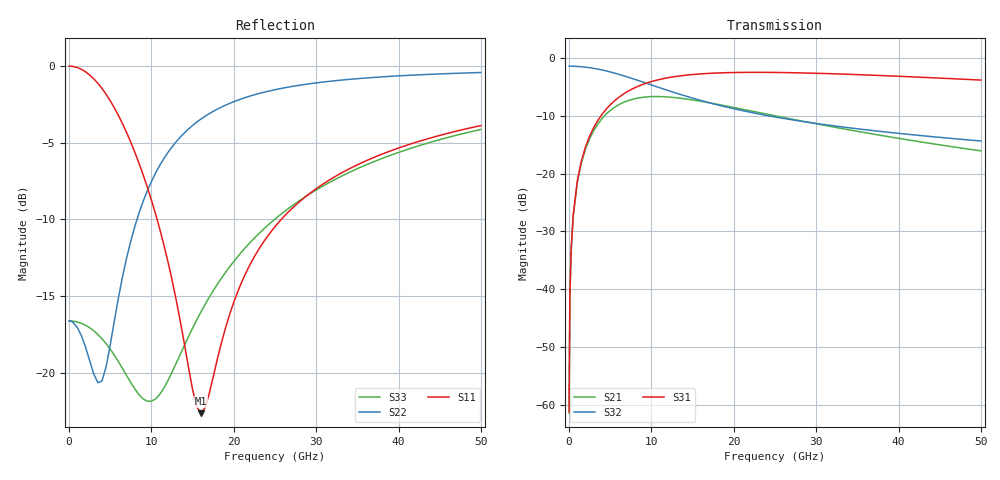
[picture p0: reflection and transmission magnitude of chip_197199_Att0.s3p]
! Example Packaged FET S-Parameter file
! AWR Design Environment (4980)
! Ports: 3, Freqs: 103
# GHz S DB R 50
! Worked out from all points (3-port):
!   103 points, 10 MHz to 50 GHz, reference 50 ohm
!   strongest paths, dB at 10 MHz, 11.5 GHz, 24.5 GHz, 37.5 GHz, 50 GHz:
!     S31: -61.3, -3.5, -2.5, -3.0, -3.8
!     S32: -1.4, -5.4, -10.1, -12.6, -14.3
!     S21: -61.5, -6.7, -9.8, -13.3, -16.1
!   lowest |S11| = -22.7 dB at 16 GHz (marker M1), VSWR 1.16, Z = 43.2 + j0.829 ohm
!   |S11| at or under -10 dB: 10.69 GHz to 25.77 GHz (15.08 GHz wide, 82.7 % of centre)
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0.01  -0.00 -0.1  -61.51 89.7  -61.26 89.8
      -61.51 89.7  -16.62 -0.0  -1.39 -0.1
      -61.26 89.8  -1.39 -0.1  -16.62 -0.0
0.1  -0.00 -1.0  -41.51 88.9  -41.26 89.4
     -41.51 88.9  -16.63 -0.0  -1.39 -0.6
     -41.26 89.4  -1.39 -0.6  -16.62 -0.1
0.25  -0.01 -2.4  -33.56 87.3  -33.30 88.4
      -33.56 87.3  -16.65 -0.0  -1.39 -1.4
      -33.30 88.4  -1.39 -1.4  -16.63 -0.3
0.5  -0.02 -4.9  -27.55 84.7  -27.29 86.8
     -27.55 84.7  -16.73 0.0  -1.40 -2.8
     -27.29 86.8  -1.40 -2.8  -16.64 -0.5
2.5  -0.57 -24.2  -13.95 63.7  -13.51 74.4
     -13.95 63.7  -19.20 9.5  -1.65 -13.9
     -13.51 74.4  -1.65 -13.9  -17.07 -2.2
4  -1.45 -38.0  -10.47 48.7  -9.74 65.3
   -10.47 48.7  -20.54 44.4  -2.04 -21.6
   -9.74 65.3  -2.04 -21.6  -17.79 -2.4
9  -7.09 -78.8  -6.77 7.0  -4.52 39.5
   -6.77 7.0  -8.82 77.4  -4.15 -41.3
   -4.52 39.5  -4.15 -41.3  -21.71 22.4
16  -22.65 172.6  -7.47 -29.2  -2.72 15.6
    -7.47 -29.2  -3.46 55.7  -7.32 -54.1
    -2.72 15.6  -7.32 -54.1  -16.05 74.0
25.5  -10.16 76.9  -10.12 -54.8  -2.48 -3.6
      -10.12 -54.8  -1.48 37.9  -10.30 -59.5
      -2.48 -3.6  -10.30 -59.5  -9.76 72.9
50  -3.88 49.2  -16.06 -80.5  -3.80 -30.6
    -16.06 -80.5  -0.41 20.2  -14.35 -65.5
    -3.80 -30.6  -14.35 -65.5  -4.13 54.1
